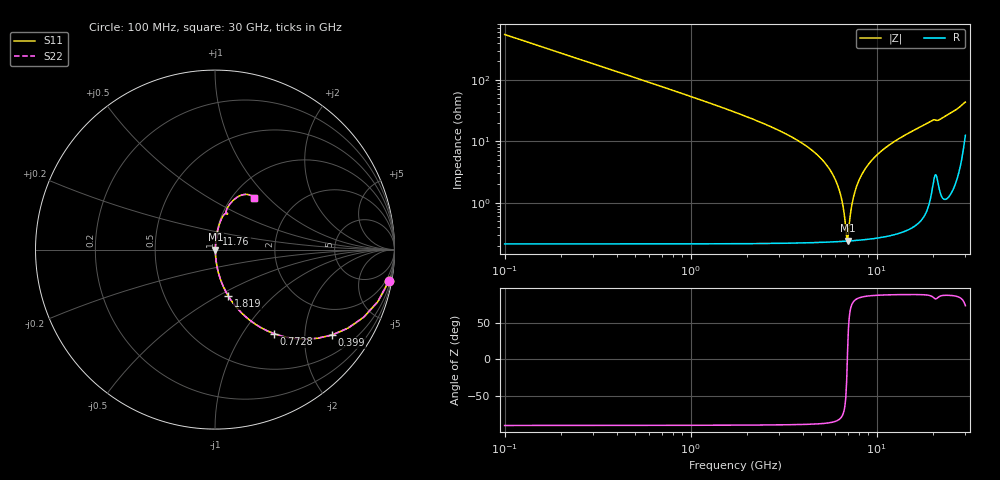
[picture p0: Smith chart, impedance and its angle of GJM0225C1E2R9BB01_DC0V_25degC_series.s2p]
!Murata Part Number: GJM0225C1E2R9BB01
!These Parameters are Measured in Series Mode Connection
!  o--ll--o
!Port1  Port2
!  o------o
!Operation Temp=25[degC], DC Bias Voltage=0[V]
!Freq. Start=100[MHz] Stop=30[GHz], 401[Steps]
!Data Generated on Feb 1, 2023
# Hz S RI R 50
!Freq.(Hz) S11(Real) S11(Imag) S21(Real) S21(Imag) S12(Real) S12(Imag) S22(Real) S22(Imag)
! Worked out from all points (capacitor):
!   401 points, 100 MHz to 30 GHz, reference 50 ohm
!   read as one part in series: C = 2.9 pF near 249.5 MHz
!   lowest |Z| = 241 mohm at 6.977 GHz (marker M1)
!   series resonance near 6.958 GHz, so ESL is about 180 pH
!   S11 on the Smith chart (normalised r, x): 100 MHz: 1, -11; 399 MHz: 1.00, -2.74; 772.8 MHz: 1.00, -1.40; 1.819 GHz: 1.00, -0.56; 11.76 GHz: 1.01, +0.18; 30 GHz: 1.25, +0.83
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1e8  0.9678 -0.1764  0.0322 0.1764  0.0322 0.1764  0.9678 -0.1764
3.99e8  0.6525 -0.4754  0.3475 0.4754  0.3475 0.4754  0.6525 -0.4754
7.7275e8  0.3303 -0.4688  0.6697 0.4688  0.6697 0.4688  0.3303 -0.4688
1.22125e9  0.1607 -0.3648  0.8393 0.3648  0.8393 0.3648  0.1607 -0.3648
1.81925e9  0.0749 -0.2595  0.9251 0.2595  0.9251 0.2595  0.0749 -0.2595
3.09e9  0.022 -0.1393  0.978 0.1393  0.978 0.1393  0.022 -0.1393
5.10825e9  0.0047 -0.0493  0.9953 0.0493  0.9953 0.0493  0.0047 -0.0493
5.781e9  0.00316 -0.0293  0.9968 0.0293  0.9968 0.0293  0.00316 -0.0293
6.2295e9  0.00262 -0.0175  0.9974 0.0175  0.9974 0.0175  0.00262 -0.0175
6.5285e9  0.00244 -0.0101  0.9976 0.0101  0.9976 0.0101  0.00244 -0.0101
6.8275e9  0.00237 -0.00298  0.9976 0.00298  0.9976 0.00298  0.00237 -0.00298
6.977e9  0.00237 0.000436  0.9976 -0.000436  0.9976 -0.000436  0.00237 0.000436
7.05175e9  0.00238 0.00212  0.9976 -0.00212  0.9976 -0.00212  0.00238 0.00212
7.4255e9  0.0025 0.0103  0.9975 -0.0103  0.9975 -0.0103  0.0025 0.0103
7.94875e9  0.00289 0.0211  0.9971 -0.0211  0.9971 -0.0211  0.00289 0.0211
8.84575e9  0.00399 0.0383  0.996 -0.0383  0.996 -0.0383  0.00399 0.0383
1.01165e10  0.00635 0.0606  0.9936 -0.0606  0.9936 -0.0606  0.00635 0.0606
1.1761e10  0.0105 0.087  0.9895 -0.087  0.9895 -0.087  0.0105 0.087
1.505e10  0.0224 0.1352  0.9776 -0.1352  0.9776 -0.1352  0.0224 0.1352
2.005825e10  0.0624 0.2027  0.9376 -0.2027  0.9376 -0.2027  0.0624 0.2027
2.50665e10  0.0877 0.2597  0.9123 -0.2597  0.9123 -0.2597  0.0877 0.2597
3e10  0.2175 0.2888  0.7825 -0.2888  0.7825 -0.2888  0.2175 0.2888
